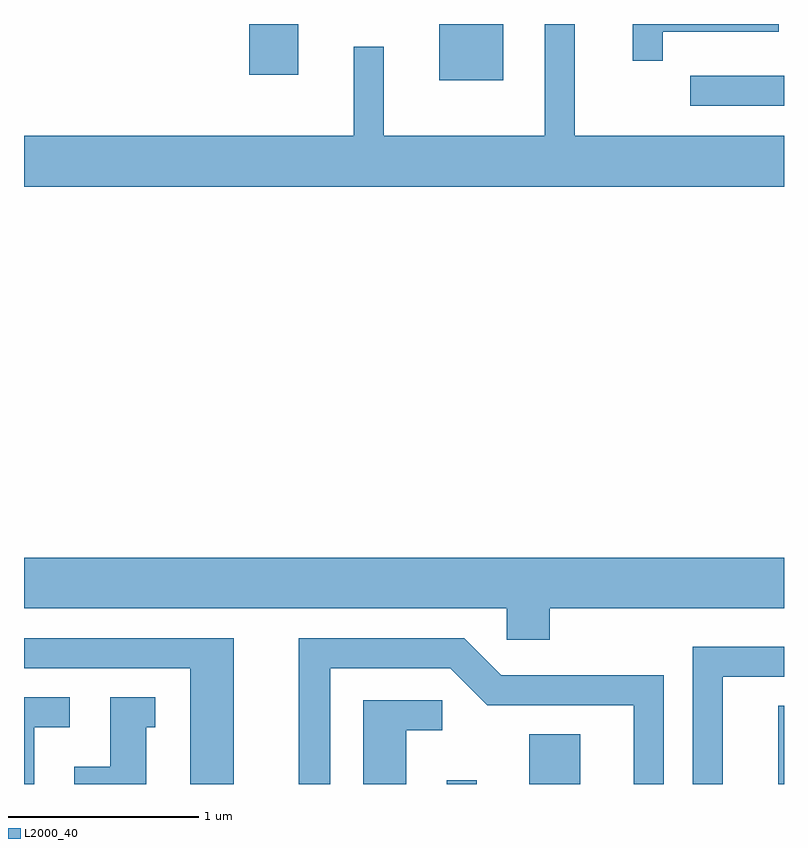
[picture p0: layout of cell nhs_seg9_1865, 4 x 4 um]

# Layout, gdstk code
import gdstk
lib = gdstk.Library(unit=1e-6, precision=1e-09)
def R(c, l, rs):  # rectangles x0, y0, x1, y1
    for r in rs: c.add(gdstk.rectangle(r[:2], r[2:], *l))
def P(c, l, *ps):  # polygons
    for p in ps: c.add(gdstk.Polygon(p, *l))
L2000_40 = (2000, 40)

nhs_seg9_1865 = lib.new_cell('nhs_seg9_1865')
R(nhs_seg9_1865, L2000_40, [(241.836,2006.432,241.994,2006.453), (242.271,2006.432,242.539,2006.694), (243.581,2006.432,243.611,2006.844), (243.118,2010.001,243.611,2010.159), (241.796,2010.136,242.134,2010.432), (240.796,2010.166,241.054,2010.432)])
P(nhs_seg9_1865, L2000_40, [(242.974,2010.391),(243.584,2010.391),(243.584,2010.432),(242.816,2010.432),(242.816,2010.238),(242.974,2010.238)],
  [(242.351,2010.432),(242.351,2009.844),(241.504,2009.844),(241.504,2010.313),(241.346,2010.313),(241.346,2009.844),(239.611,2009.844),(239.611,2009.576),(243.611,2009.576),(243.611,2009.844),(242.509,2009.844),(242.509,2010.432)],
  [(242.379,2007.356),(243.611,2007.356),(243.611,2007.624),(239.611,2007.624),(239.611,2007.356),(242.151,2007.356),(242.151,2007.191),(242.379,2007.191)],
  [(240.714,2007.199),(239.611,2007.199),(239.611,2007.041),(240.486,2007.041),(240.486,2006.432),(240.714,2006.432)],
  [(241.224,2007.041),(241.854,2007.041),(242.049,2006.846),(242.821,2006.846),(242.821,2006.432),(242.979,2006.432),(242.979,2007.004),(242.122,2007.004),(241.927,2007.199),(241.056,2007.199),(241.056,2006.432),(241.224,2006.432)],
  [(243.289,2006.996),(243.611,2006.996),(243.611,2007.154),(243.131,2007.154),(243.131,2006.432),(243.289,2006.432)],
  [(240.254,2006.731),(240.303,2006.731),(240.303,2006.889),(240.066,2006.889),(240.066,2006.524),(239.876,2006.524),(239.876,2006.432),(240.254,2006.432)],
  [(239.664,2006.731),(239.853,2006.731),(239.853,2006.889),(239.611,2006.889),(239.611,2006.432),(239.664,2006.432)],
  [(241.624,2006.716),(241.813,2006.716),(241.813,2006.874),(241.396,2006.874),(241.396,2006.432),(241.624,2006.432)])

lib.write_gds('nhs_seg9_1865.gds')
